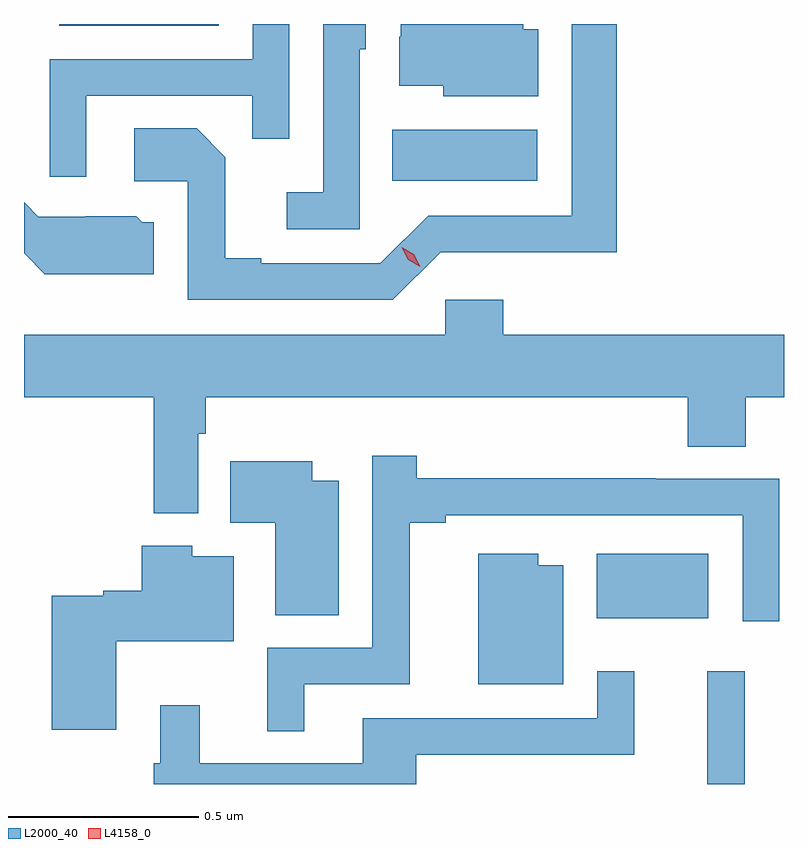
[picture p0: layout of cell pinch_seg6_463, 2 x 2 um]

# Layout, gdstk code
import gdstk
lib = gdstk.Library(unit=1e-6, precision=1e-09)
def R(c, l, rs):  # rectangles x0, y0, x1, y1
    for r in rs: c.add(gdstk.rectangle(r[:2], r[2:], *l))
def P(c, l, *ps):  # polygons
    for p in ps: c.add(gdstk.Polygon(p, *l))
L2000_40 = (2000, 40)
L4158_0 = (4158, 0)

pinch_seg6_463 = lib.new_cell('pinch_seg6_463')
R(pinch_seg6_463, L2000_40, [(702.743,927.67,702.842,927.967), (702.452,928.106,702.745,928.276), (701.914,929.258,702.295,929.392), (701.038,929.666,701.458,929.67)])
P(pinch_seg6_463, L2000_40, [(701.829,929.604),(701.844,929.604),(701.844,929.67),(701.733,929.67),(701.733,929.227),(701.637,929.227),(701.637,929.13),(701.829,929.13)],
  [(702.298,929.656),(702.259,929.656),(702.259,929.67),(701.937,929.67),(701.937,929.636),(701.933,929.636),(701.933,929.507),(702.048,929.507),(702.048,929.48),(702.298,929.48)],
  [(701.109,929.481),(701.545,929.481),(701.545,929.368),(701.643,929.368),(701.643,929.67),(701.547,929.67),(701.547,929.577),(701.013,929.577),(701.013,929.268),(701.109,929.268)],
  [(702.042,929.07),(702.264,929.07),(702.264,929.069),(702.505,929.069),(702.505,929.67),(702.386,929.67),(702.386,929.166),(702.009,929.166),(701.883,929.04),(701.569,929.04),(701.569,929.053),(701.475,929.053),(701.475,929.32),(701.399,929.396),(701.235,929.396),(701.235,929.256),(701.376,929.256),(701.376,928.944),(701.916,928.944)],
  [(701.287,929.148),(701.256,929.148),(701.24,929.164),(701.106,929.164),(701.106,929.163),(700.983,929.163),(700.945,929.201),(700.945,929.067),(700.999,929.012),(701.287,929.012)],
  [(701.403,928.592),(701.423,928.592),(701.423,928.688),(702.692,928.688),(702.692,928.558),(702.844,928.558),(702.844,928.688),(702.945,928.688),(702.945,928.852),(702.206,928.852),(702.206,928.945),(702.054,928.945),(702.054,928.852),(700.945,928.852),(700.945,928.688),(701.287,928.688),(701.287,928.382),(701.403,928.382)],
  [(701.683,927.933),(701.96,927.933),(701.96,928.357),(702.055,928.357),(702.055,928.377),(702.837,928.377),(702.837,928.098),(702.933,928.098),(702.933,928.473),(702.608,928.473),(702.608,928.475),(701.978,928.475),(701.978,928.534),(701.862,928.534),(701.862,928.029),(701.585,928.029),(701.585,927.809),(701.683,927.809)],
  [(701.773,928.468),(701.704,928.468),(701.704,928.519),(701.488,928.519),(701.488,928.358),(701.606,928.358),(701.606,928.114),(701.773,928.114)],
  [(701.188,928.046),(701.497,928.046),(701.497,928.27),(701.388,928.27),(701.388,928.297),(701.255,928.297),(701.255,928.178),(701.153,928.178),(701.153,928.165),(701.018,928.165),(701.018,927.813),(701.188,927.813)],
  [(702.364,928.246),(702.298,928.246),(702.298,928.276),(702.14,928.276),(702.14,927.932),(702.364,927.932)],
  [(701.977,927.747),(702.551,927.747),(702.551,927.967),(702.453,927.967),(702.453,927.843),(701.837,927.843),(701.837,927.724),(701.407,927.724),(701.407,927.877),(701.303,927.877),(701.303,927.725),(701.286,927.725),(701.286,927.67),(701.977,927.67)])
P(pinch_seg6_463, L4158_0, [(701.988,929.031),(701.956,929.05),(701.939,929.082),(701.939,929.083),(701.939,929.083),(701.971,929.064),(701.988,929.031),(701.988,929.031)])

lib.write_gds('pinch_seg6_463.gds')
